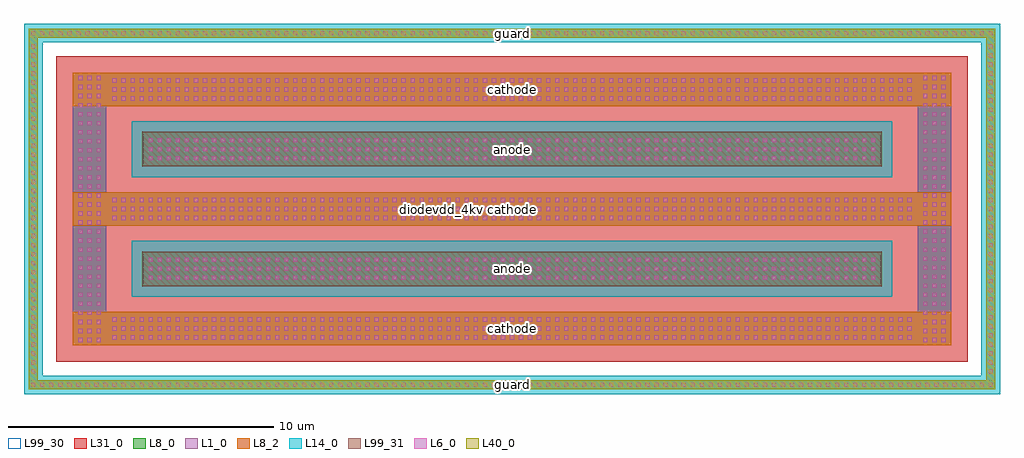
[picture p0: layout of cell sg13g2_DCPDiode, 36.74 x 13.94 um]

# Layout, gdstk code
import gdstk
lib = gdstk.Library(unit=1e-6, precision=1e-09)
def R(c, l, rs):  # rectangles x0, y0, x1, y1
    for r in rs: c.add(gdstk.rectangle(r[:2], r[2:], *l))
def A(c, l, x, y, w, h, nx, ny, dx, dy):  # array of equal rectangles
    R(c, l, [(x+i*dx, y+j*dy, x+i*dx+w, y+j*dy+h) for i in range(nx) for j in range(ny)])
def P(c, l, *ps):  # polygons
    for p in ps: c.add(gdstk.Polygon(p, *l))
L1_0 = (1, 0)
L6_0 = (6, 0)
L8_0 = (8, 0)
L8_2 = (8, 2)
L14_0 = (14, 0)
L31_0 = (31, 0)
L40_0 = (40, 0)
L99_30 = (99, 30)
L99_31 = (99, 31)

sg13g2_guardring_p7276w2 = lib.new_cell('sg13g2_GuardRing_P7276W2716HFF')
P(sg13g2_guardring_p7276w2, L1_0, [(-18.19,-6.79),(-18.19,6.45),(-17.85,6.45),(-17.85,-6.45),(17.85,-6.45),(17.85,6.45),(-18.19,6.45),(-18.19,6.79),(18.19,6.79),(18.19,-6.79)])
A(sg13g2_guardring_p7276w2, L6_0, -18.1, -6.7, 0.16, 0.16, 107, 2, 0.34, 13.24)
A(sg13g2_guardring_p7276w2, L6_0, -18.1, -6.2, 0.16, 0.16, 1, 37, 0, 0.34)
A(sg13g2_guardring_p7276w2, L6_0, 17.94, -6.2, 0.16, 0.16, 1, 37, 0, 0.34)
P(sg13g2_guardring_p7276w2, L8_0, [(-18.19,-6.79),(-18.19,6.45),(-17.85,6.45),(-17.85,-6.45),(17.85,-6.45),(17.85,6.45),(-18.19,6.45),(-18.19,6.79),(18.19,6.79),(18.19,-6.79)])
P(sg13g2_guardring_p7276w2, L14_0, [(-18.37,-6.97),(-18.37,6.27),(-17.67,6.27),(-17.67,-6.27),(17.67,-6.27),(17.67,6.27),(-18.37,6.27),(-18.37,6.97),(18.37,6.97),(18.37,-6.97)])
P(sg13g2_guardring_p7276w2, L40_0, [(-18.19,-6.79),(-18.19,6.45),(-17.85,6.45),(-17.85,-6.45),(17.85,-6.45),(17.85,6.45),(-18.19,6.45),(-18.19,6.79),(18.19,6.79),(18.19,-6.79)])
sg13g2_guardring_p7276w2.add(gdstk.Label('sub!', (-18.02,-6.62), layer=63, texttype=0))

sg13g2_dcpdiode = lib.new_cell('sg13g2_DCPDiode')
R(sg13g2_dcpdiode, L1_0, [(2.64,2.25,30.42,3.51), (2.64,6.75,30.42,8.01)])
P(sg13g2_dcpdiode, L1_0, [(0,0),(0,4.5),(1.26,4.5),(1.26,1.26),(31.8,1.26),(31.8,4.5),(0,4.5),(0,9),(1.26,9),(1.26,5.76),(31.8,5.76),(31.8,9),(0,9),(0,10.26),(33.06,10.26),(33.06,0)])
A(sg13g2_dcpdiode, L6_0, 0.21, 0.12, 0.16, 0.16, 3, 30, 0.34, 0.34)
A(sg13g2_dcpdiode, L6_0, 32.01, 0.12, 0.16, 0.16, 3, 30, 0.34, 0.34)
A(sg13g2_dcpdiode, L6_0, 1.49, 0.21, 0.16, 0.16, 89, 3, 0.34, 0.34)
A(sg13g2_dcpdiode, L6_0, 2.85, 2.46, 0.16, 0.16, 81, 3, 0.34, 0.34)
A(sg13g2_dcpdiode, L6_0, 1.49, 4.71, 0.16, 0.16, 89, 3, 0.34, 0.34)
A(sg13g2_dcpdiode, L6_0, 2.85, 6.96, 0.16, 0.16, 81, 3, 0.34, 0.34)
A(sg13g2_dcpdiode, L6_0, 1.49, 9.21, 0.16, 0.16, 89, 3, 0.34, 0.34)
R(sg13g2_dcpdiode, L8_0, [(-1.66,-1.66,34.72,-1.32), (2.64,2.25,30.42,3.51), (2.64,6.75,30.42,8.01), (-1.66,11.58,34.72,11.92)])
P(sg13g2_dcpdiode, L8_0, [(0,0),(0,4.5),(1.26,4.5),(1.26,1.26),(31.8,1.26),(31.8,4.5),(0,4.5),(0,9),(1.26,9),(1.26,5.76),(31.8,5.76),(31.8,9),(0,9),(0,10.26),(33.06,10.26),(33.06,0)])
A(sg13g2_dcpdiode, L8_2, 0, 0, 33.06, 1.26, 1, 3, 0, 4.5)
R(sg13g2_dcpdiode, L8_2, [(-1.66,-1.66,34.72,-1.32), (2.64,2.25,30.42,3.51), (2.64,6.75,30.42,8.01), (-1.66,11.58,34.72,11.92)])
R(sg13g2_dcpdiode, L14_0, [(2.22,1.83,30.84,3.93), (2.22,6.33,30.84,8.43)])
R(sg13g2_dcpdiode, L31_0, [(-0.62,-0.62,33.68,10.88)])
R(sg13g2_dcpdiode, L99_30, [(-1.66,-1.66,34.72,11.92)])
R(sg13g2_dcpdiode, L99_31, [(2.62,2.23,30.44,3.53), (2.62,6.73,30.44,8.03)])
sg13g2_dcpdiode.add(gdstk.Reference(sg13g2_guardring_p7276w2, (16.53,5.13)))
sg13g2_dcpdiode.add(gdstk.Label('anode', (16.53,2.88), layer=8, texttype=25))
sg13g2_dcpdiode.add(gdstk.Label('anode', (16.53,7.38), layer=8, texttype=25))
sg13g2_dcpdiode.add(gdstk.Label('cathode', (16.53,9.63), layer=8, texttype=25))
sg13g2_dcpdiode.add(gdstk.Label('cathode', (16.53,0.63), layer=8, texttype=25))
sg13g2_dcpdiode.add(gdstk.Label('cathode', (16.53,5.13), layer=8, texttype=25))
sg13g2_dcpdiode.add(gdstk.Label('guard', (16.53,-1.49), layer=8, texttype=25))
sg13g2_dcpdiode.add(gdstk.Label('guard', (16.53,11.75), layer=8, texttype=25))
sg13g2_dcpdiode.add(gdstk.Label('diodevdd_4kv', (13.89,5.13), layer=63, texttype=0))

lib.write_gds('sg13g2_DCPDiode.gds')
